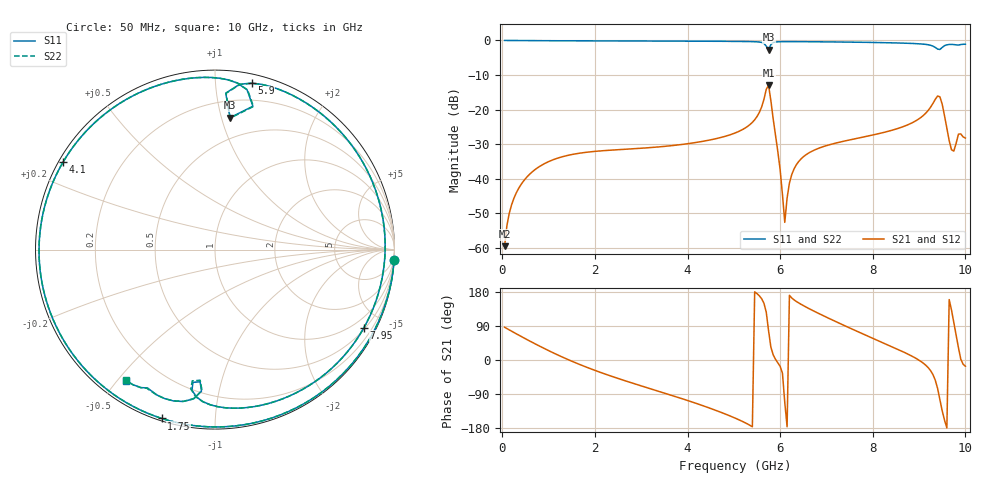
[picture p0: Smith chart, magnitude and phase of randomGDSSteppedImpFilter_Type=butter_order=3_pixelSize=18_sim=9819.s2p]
! freq	dB(S11)	phase(S11)	dB(S12)	phase(S12)
!  dB(S21)	phase(S21)	dB(S22)	phase(S22)
!S-par simulation data
#  GHz  S  DB  R 50
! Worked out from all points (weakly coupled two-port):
!   200 points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, 50 MHz to 10 GHz, reference 50 ohm
!   highest |S21| = -12.99 dB at 5.75 GHz (marker M1); lowest = -59.5 dB at 50 MHz (marker M2)
!   lowest |S11| = -2.6 dB at 5.75 GHz (marker M3), VSWR 6.67, Z = 16.4 + j53.2 ohm
!   |S11| at or under -10 dB: nowhere
!   |S22| runs from -2.7 to 0.0 dB; largest |S21 - S12| = 0
!   S11 on the Smith chart (normalised r, x): 50 MHz: 0, -33; 1.75 GHz: 0.01, -0.73; 4.1 GHz: 0.01, +0.27; 5.9 GHz: 0.07, +1.24; 7.95 GHz: 0.56, -3.98; 10 GHz: 0.08, -0.53
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0.05  -0.00 -3.5  -59.50 86.4  -59.50 86.4  -0.00 -3.5
0.2  -0.02 -13.7  -47.57 76.0  -47.57 76.0  -0.02 -13.7
0.5  -0.05 -33.8  -39.98 56.0  -39.98 56.0  -0.05 -33.8
1.1  -0.09 -71.6  -34.49 18.9  -34.49 18.9  -0.09 -71.6
1.75  -0.12 -107.6  -32.45 -15.7  -32.45 -15.7  -0.12 -107.6
2.55  -0.15 -145.6  -31.55 -50.8  -31.55 -50.8  -0.15 -145.7
3.4  -0.17 178.4  -30.77 -83.5  -30.77 -83.5  -0.17 178.4
4.1  -0.20 150.0  -29.68 -110.9  -29.68 -110.9  -0.20 149.9
5.05  -0.27 110.1  -26.64 -154.5  -26.64 -154.5  -0.27 109.9
5.5  -0.40 88.6  -22.01 175.1  -22.01 175.1  -0.40 88.4
5.75  -2.62 83.5  -12.99 77.1  -12.99 77.1  -2.64 83.4
5.9  -0.45 77.6  -27.48 1.8  -27.48 1.8  -0.45 77.4
6.1  -0.34 65.9  -52.61 -112.3  -52.61 -112.3  -0.34 65.7
6.25  -0.34 58.1  -38.80 163.7  -38.80 163.7  -0.34 57.9
6.7  -0.37 35.5  -31.95 130.8  -31.95 130.8  -0.38 35.3
7.35  -0.46 2.6  -29.21 92.9  -29.21 92.9  -0.46 2.4
7.95  -0.57 -27.7  -27.50 60.0  -27.50 60.0  -0.57 -28.0
8.35  -0.67 -47.8  -26.22 38.6  -26.22 38.6  -0.67 -48.1
9  -0.97 -80.7  -22.64 -0.7  -22.64 -0.7  -0.97 -81.1
9.4  -2.50 -99.4  -16.07 -75.1  -16.07 -75.1  -2.59 -99.8
9.7  -1.15 -108.7  -31.63 132.0  -31.63 132.0  -1.15 -108.6
10  -1.09 -124.1  -28.23 -16.5  -28.23 -16.5  -1.09 -124.3
